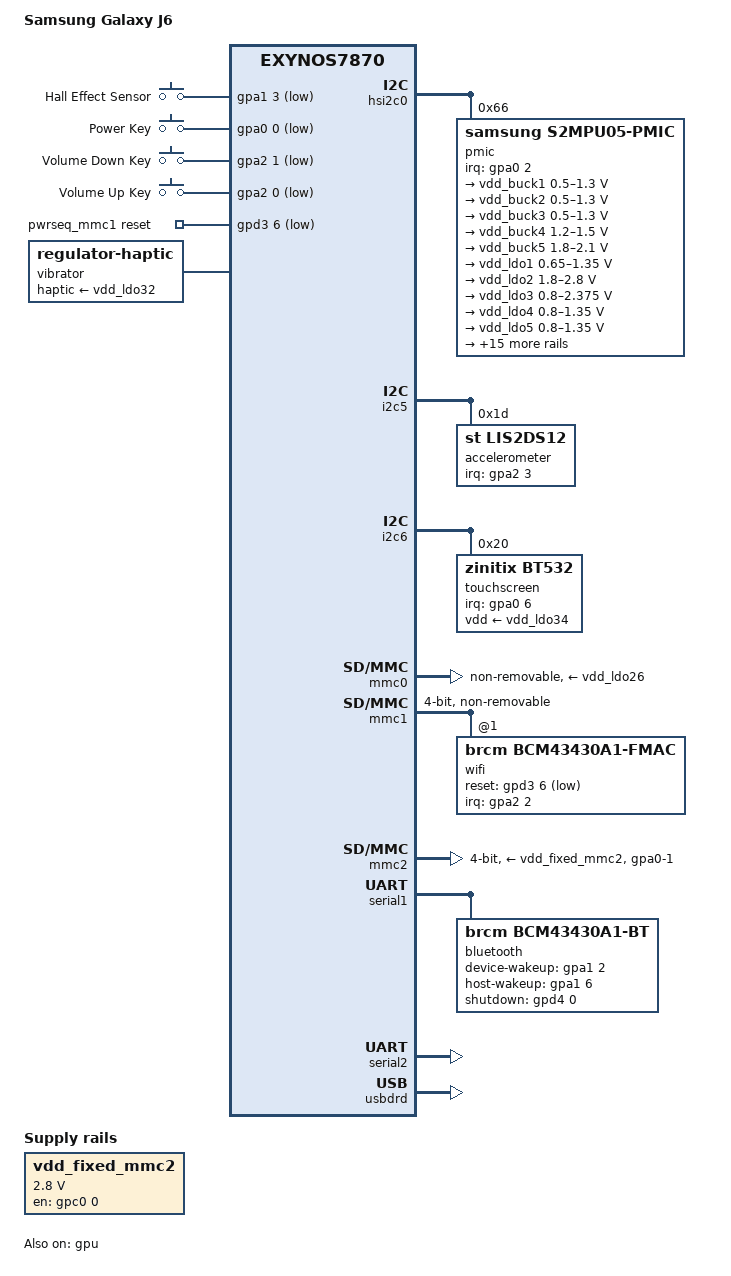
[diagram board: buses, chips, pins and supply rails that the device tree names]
// SPDX-License-Identifier: GPL-2.0
/*
 * Samsung Galaxy J6 (j6lte) device tree source
 *
 * Copyright (c) 2018 Samsung Electronics Co., Ltd.
 * Copyright (c) 2025 Kaustabh Chakraborty <kauschluss@disroot.org>
 */

/dts-v1/;
#include "exynos7870.dtsi"
#include <dt-bindings/gpio/gpio.h>
#include <dt-bindings/input/input.h>
#include <dt-bindings/interrupt-controller/irq.h>

/ {
	model = "Samsung Galaxy J6";
	compatible = "samsung,j6lte", "samsung,exynos7870";
	chassis-type = "handset";

	aliases {
		mmc0 = &mmc0;
		mmc1 = &mmc1;
		mmc2 = &mmc2;
		serial0 = &serial0;
		serial1 = &serial1;
		serial2 = &serial2;
	};

	chosen {
		#address-cells = <2>;
		#size-cells = <1>;
		ranges;

		stdout-path = &serial2;

		framebuffer@67000000 {
			compatible = "simple-framebuffer";
			reg = <0x0 0x67000000 (720 * 1480 * 4)>;
			width = <720>;
			height = <1480>;
			stride = <(720 * 4)>;
			format = "a8r8g8b8";
		};
	};

	gpio-hall-effect-sensor {
		compatible = "gpio-keys";
		label = "GPIO Hall Effect Sensor";

		pinctrl-names = "default";
		pinctrl-0 = <&hall_irq>;

		event-hall-effect-sensor {
			label = "Hall Effect Sensor";
			gpios = <&gpa1 3 GPIO_ACTIVE_LOW>;
			linux,input-type = <EV_SW>;
			linux,code = <SW_LID>;
			linux,can-disable;
			wakeup-source;
		};
	};

	gpio-keys {
		compatible = "gpio-keys";
		label = "GPIO Keys";

		pinctrl-names = "default";
		pinctrl-0 = <&key_power &key_voldown &key_volup>;

		key-power {
			label = "Power Key";
			gpios = <&gpa0 0 GPIO_ACTIVE_LOW>;
			linux,code = <KEY_POWER>;
		};

		key-voldown {
			label = "Volume Down Key";
			gpios = <&gpa2 1 GPIO_ACTIVE_LOW>;
			linux,code = <KEY_VOLUMEDOWN>;
		};

		key-volup {
			label = "Volume Up Key";
			gpios = <&gpa2 0 GPIO_ACTIVE_LOW>;
			linux,code = <KEY_VOLUMEUP>;
		};
	};

	memory@40000000 {
		device_type = "memory";
		reg = <0x0 0x40000000 0x3d800000>,
		      <0x0 0x80000000 0x40000000>;
	};

	pwrseq_mmc1: pwrseq-mmc1 {
		compatible = "mmc-pwrseq-simple";
		reset-gpios = <&gpd3 6 GPIO_ACTIVE_LOW>;
	};

	/* mmc2: vmmc */
	vdd_fixed_mmc2: regulator-fixed-mmc2 {
		compatible = "regulator-fixed";
		regulator-name = "vdd_fixed_mmc2";
		regulator-max-microvolt = <2800000>;
		regulator-min-microvolt = <2800000>;
		gpio = <&gpc0 0 GPIO_ACTIVE_HIGH>;
		enable-active-high;
	};

	reserved-memory {
		#address-cells = <2>;
		#size-cells = <1>;
		ranges;

		ramoops@46e00000 {
			compatible = "ramoops";
			reg = <0x0 0x46e00000 0x8000>;
			console-size = <0x4000>;
			pmsg-size = <0x4000>;
		};

		framebuffer@67000000 {
			reg = <0x0 0x67000000 (720 * 1480 * 4)>;
			no-map;
		};
	};

	vibrator {
		compatible = "regulator-haptic";
		haptic-supply = <&vdd_ldo32>;
		min-microvolt = <3300000>;
		max-microvolt = <3300000>;
	};
};

&gpu {
	status = "okay";
};

&hsi2c0 {
	#address-cells = <1>;
	#size-cells = <0>;

	status = "okay";

	pmic@66 {
		compatible = "samsung,s2mpu05-pmic";
		reg = <0x66>;
		interrupt-parent = <&gpa0>;
		interrupts = <2 IRQ_TYPE_LEVEL_LOW>;

		pinctrl-names = "default";
		pinctrl-0 = <&pmic_irq>;

		regulators {
			vdd_buck1: buck1 {
				regulator-name = "vdd_buck1";
				regulator-min-microvolt = <500000>;
				regulator-max-microvolt = <1300000>;
				regulator-ramp-delay = <12000>;
				regulator-boot-on;
				regulator-always-on;
			};

			vdd_buck2: buck2 {
				regulator-name = "vdd_buck2";
				regulator-min-microvolt = <500000>;
				regulator-max-microvolt = <1300000>;
				regulator-ramp-delay = <12000>;
				regulator-boot-on;
				regulator-always-on;
			};

			vdd_buck3: buck3 {
				regulator-name = "vdd_buck3";
				regulator-min-microvolt = <500000>;
				regulator-max-microvolt = <1300000>;
				regulator-ramp-delay = <12000>;
				regulator-boot-on;
				regulator-always-on;
			};

			vdd_buck4: buck4 {
				regulator-name = "vdd_buck4";
				regulator-min-microvolt = <1200000>;
				regulator-max-microvolt = <1500000>;
				regulator-ramp-delay = <12000>;
				regulator-boot-on;
				regulator-always-on;
			};

			vdd_buck5: buck5 {
				regulator-name = "vdd_buck5";
				regulator-min-microvolt = <1800000>;
				regulator-max-microvolt = <2100000>;
				regulator-ramp-delay = <12000>;
				regulator-boot-on;
				regulator-always-on;
			};

			vdd_ldo1: ldo1 {
				regulator-name = "vdd_ldo1";
				regulator-min-microvolt = <650000>;
				regulator-max-microvolt = <1350000>;
				regulator-ramp-delay = <12000>;
				regulator-boot-on;
				regulator-always-on;
			};

			/* mmc2: vqmmc */
			vdd_ldo2: ldo2 {
				regulator-name = "vdd_ldo2";
				regulator-min-microvolt = <1800000>;
				regulator-max-microvolt = <2800000>;
				regulator-ramp-delay = <12000>;
			};

			vdd_ldo3: ldo3 {
				regulator-name = "vdd_ldo3";
				regulator-min-microvolt = <800000>;
				regulator-max-microvolt = <2375000>;
				regulator-ramp-delay = <12000>;
				regulator-boot-on;
				regulator-always-on;
			};

			vdd_ldo4: ldo4 {
				regulator-name = "vdd_ldo4";
				regulator-min-microvolt = <800000>;
				regulator-max-microvolt = <1350000>;
				regulator-ramp-delay = <12000>;
				regulator-boot-on;
				regulator-always-on;
			};

			vdd_ldo5: ldo5 {
				regulator-name = "vdd_ldo5";
				regulator-min-microvolt = <800000>;
				regulator-max-microvolt = <1350000>;
				regulator-ramp-delay = <12000>;
				regulator-boot-on;
				regulator-always-on;
			};

			vdd_ldo6: ldo6 {
				regulator-name = "vdd_ldo6";
				regulator-min-microvolt = <800000>;
				regulator-max-microvolt = <1350000>;
				regulator-ramp-delay = <12000>;
				regulator-boot-on;
				regulator-always-on;
			};

			vdd_ldo7: ldo7 {
				regulator-name = "vdd_ldo7";
				regulator-min-microvolt = <800000>;
				regulator-max-microvolt = <2375000>;
				regulator-ramp-delay = <12000>;
				regulator-boot-on;
				regulator-always-on;
			};

			/* usbdrd: vdd33 */
			vdd_ldo8: ldo8 {
				regulator-name = "vdd_ldo8";
				regulator-min-microvolt = <1800000>;
				regulator-max-microvolt = <3375000>;
				regulator-ramp-delay = <12000>;
			};

			vdd_ldo9: ldo9 {
				regulator-name = "vdd_ldo9";
				regulator-min-microvolt = <650000>;
				regulator-max-microvolt = <1350000>;
				regulator-ramp-delay = <12000>;
				regulator-boot-on;
				regulator-always-on;
			};

			vdd_ldo10: ldo10 {
				regulator-name = "vdd_ldo10";
				regulator-min-microvolt = <650000>;
				regulator-max-microvolt = <1350000>;
				regulator-ramp-delay = <12000>;
				regulator-boot-on;
				regulator-always-on;
			};

			vdd_ldo25: ldo25 {
				regulator-name = "vdd_ldo25";
				regulator-min-microvolt = <800000>;
				regulator-max-microvolt = <2375000>;
				regulator-ramp-delay = <12000>;
				regulator-boot-on;
				regulator-always-on;
			};

			/* mmc0: vmmc */
			vdd_ldo26: ldo26 {
				regulator-name = "vdd_ldo26";
				regulator-min-microvolt = <1800000>;
				regulator-max-microvolt = <3375000>;
				regulator-ramp-delay = <12000>;
			};

			/* mmc0: vqmmc */
			vdd_ldo27: ldo27 {
				regulator-name = "vdd_ldo27";
				regulator-min-microvolt = <800000>;
				regulator-max-microvolt = <2375000>;
				regulator-ramp-delay = <12000>;
			};

			vdd_ldo29: ldo29 {
				regulator-name = "vdd_ldo29";
				regulator-min-microvolt = <3000000>;
				regulator-max-microvolt = <3000000>;
				regulator-boot-on;
				regulator-always-on;
			};

			vdd_ldo30: ldo30 {
				regulator-name = "vdd_ldo30";
				regulator-min-microvolt = <1800000>;
				regulator-max-microvolt = <1800000>;
				regulator-boot-on;
				regulator-always-on;
			};

			vdd_ldo31: ldo31 {
				regulator-name = "vdd_ldo31";
				regulator-min-microvolt = <2800000>;
				regulator-max-microvolt = <2800000>;
				regulator-ramp-delay = <12000>;
				regulator-boot-on;
				regulator-always-on;
			};

			/* vibrator: haptic */
			vdd_ldo32: ldo32 {
				regulator-name = "vdd_ldo32";
				regulator-min-microvolt = <3300000>;
				regulator-max-microvolt = <3300000>;
				regulator-ramp-delay = <12000>;
			};

			vdd_ldo33: ldo33 {
				regulator-name = "vdd_ldo33";
				regulator-min-microvolt = <3300000>;
				regulator-max-microvolt = <3300000>;
				regulator-ramp-delay = <12000>;
				regulator-boot-on;
				regulator-always-on;
			};

			/* touchscreen: vdd */
			vdd_ldo34: ldo34 {
				regulator-name = "vdd_ldo34";
				regulator-min-microvolt = <3300000>;
				regulator-max-microvolt = <3300000>;
			};

			vdd_ldo35: ldo35 {
				regulator-name = "vdd_ldo35";
				regulator-min-microvolt = <2800000>;
				regulator-max-microvolt = <2800000>;
				regulator-ramp-delay = <12000>;
				regulator-boot-on;
				regulator-always-on;
			};
		};
	};
};

&i2c5 {
	#address-cells = <1>;
	#size-cells = <0>;

	samsung,i2c-sda-delay = <100>;
	samsung,i2c-max-bus-freq = <400000>;

	status = "okay";

	accelerometer@1d {
		compatible = "st,lis2ds12";
		reg = <0x1d>;
		interrupt-parent = <&gpa2>;
		interrupts = <3 IRQ_TYPE_EDGE_RISING>;

		pinctrl-names = "default";
		pinctrl-0 = <&accel_irq>;

		mount-matrix = "-1", "0",  "0",
				"0", "1",  "0",
				"0", "0", "-1";

		st,drdy-int-pin = <1>;
	};
};

&i2c6 {
	#address-cells = <1>;
	#size-cells = <0>;

	samsung,i2c-sda-delay = <100>;
	samsung,i2c-max-bus-freq = <400000>;

	status = "okay";

	touchscreen@20 {
		compatible = "zinitix,bt532";
		reg = <0x20>;
		interrupt-parent = <&gpa0>;
		interrupts = <6 IRQ_TYPE_LEVEL_LOW>;

		pinctrl-names = "default";
		pinctrl-0 = <&touch_irq>;

		touchscreen-size-x = <720>;
		touchscreen-size-y = <1480>;

		vdd-supply = <&vdd_ldo34>;
	};
};

&mmc0 {
	pinctrl-names = "default";
	pinctrl-0 = <&sd0_clk &sd0_cmd &sd0_rdqs &sd0_bus1 &sd0_bus4 &sd0_bus8>;

	vmmc-supply = <&vdd_ldo26>;
	vqmmc-supply = <&vdd_ldo27>;

	fifo-depth = <64>;
	samsung,dw-mshc-ciu-div = <3>;
	samsung,dw-mshc-sdr-timing = <0 4>;
	samsung,dw-mshc-ddr-timing = <2 4>;
	non-removable;

	status = "okay";
};

&mmc1 {
	#address-cells = <1>;
	#size-cells = <0>;

	pinctrl-names = "default";
	pinctrl-0 = <&sd1_clk &sd1_cmd &sd1_bus1 &sd1_bus4>;

	mmc-pwrseq = <&pwrseq_mmc1>;

	bus-width = <4>;
	fifo-depth = <64>;
	samsung,dw-mshc-ciu-div = <3>;
	samsung,dw-mshc-sdr-timing = <0 3>;
	samsung,dw-mshc-ddr-timing = <1 2>;
	non-removable;
	cap-sd-highspeed;
	cap-sdio-irq;

	status = "okay";

	wifi@1 {
		compatible = "brcm,bcm43430a1-fmac", "brcm,bcm4329-fmac";
		reg = <0x1>;
		interrupt-names = "host-wake";
		interrupt-parent = <&gpa2>;
		interrupts = <2 IRQ_TYPE_LEVEL_LOW>;

		reset-gpios = <&gpd3 6 GPIO_ACTIVE_LOW>;
	};
};

&mmc2 {
	pinctrl-names = "default";
	pinctrl-0 = <&sd2_clk &sd2_cmd &sd2_bus1 &sd2_bus4 &dwmmc2_irq>;

	vmmc-supply = <&vdd_fixed_mmc2>;
	vqmmc-supply = <&vdd_ldo2>;

	bus-width = <4>;
	card-detect-delay = <200>;
	fifo-depth = <64>;
	samsung,dw-mshc-ciu-div = <3>;
	samsung,dw-mshc-sdr-timing = <0 3>;
	samsung,dw-mshc-ddr-timing = <1 2>;
	sd-uhs-sdr50;
	sd-uhs-sdr104;
	broken-cd;
	disable-wp;

	status = "okay";
};

&oscclk {
	clock-frequency = <26000000>;
};

&pinctrl_alive {
	accel_irq: accel-irq-pins {
		samsung,pins = "gpa2-3";
		samsung,pin-function = <EXYNOS_PIN_FUNC_EINT>;
		samsung,pin-pud = <EXYNOS_PIN_PULL_NONE>;
		samsung,pin-drv = <EXYNOS5433_PIN_DRV_FAST_SR1>;
	};

	dwmmc2_irq: dwmmc2-irq-pins {
		samsung,pins = "gpa0-1";
		samsung,pin-function = <EXYNOS_PIN_FUNC_EINT>;
		samsung,pin-pud = <EXYNOS_PIN_PULL_NONE>;
		samsung,pin-drv = <EXYNOS5433_PIN_DRV_FAST_SR1>;
	};

	fuel_irq: fuel-irq-pins {
		samsung,pins = "gpa0-3";
		samsung,pin-function = <EXYNOS_PIN_FUNC_INPUT>;
		samsung,pin-pud = <EXYNOS_PIN_PULL_NONE>;
		samsung,pin-drv = <EXYNOS5433_PIN_DRV_FAST_SR1>;
	};

	hall_irq: hall-irq-pins {
		samsung,pins = "gpa1-3";
		samsung,pin-function = <EXYNOS_PIN_FUNC_EINT>;
		samsung,pin-pud = <EXYNOS_PIN_PULL_NONE>;
		samsung,pin-drv = <EXYNOS5433_PIN_DRV_FAST_SR1>;
	};

	key_power: key-power-pins {
		samsung,pins = "gpa0-0";
		samsung,pin-function = <EXYNOS_PIN_FUNC_EINT>;
		samsung,pin-pud = <EXYNOS_PIN_PULL_NONE>;
		samsung,pin-drv = <EXYNOS5433_PIN_DRV_FAST_SR1>;
	};

	key_voldown: key-voldown-pins {
		samsung,pins = "gpa2-1";
		samsung,pin-function = <EXYNOS_PIN_FUNC_EINT>;
		samsung,pin-pud = <EXYNOS_PIN_PULL_NONE>;
		samsung,pin-drv = <EXYNOS5433_PIN_DRV_FAST_SR1>;
	};

	key_volup: key-volup-pins {
		samsung,pins = "gpa2-0";
		samsung,pin-function = <EXYNOS_PIN_FUNC_EINT>;
		samsung,pin-pud = <EXYNOS_PIN_PULL_NONE>;
		samsung,pin-drv = <EXYNOS5433_PIN_DRV_FAST_SR1>;
	};

	pmic_irq: pmic-irq-pins {
		samsung,pins = "gpa0-2";
		samsung,pin-pud = <EXYNOS_PIN_PULL_UP>;
		samsung,pin-drv = <EXYNOS5433_PIN_DRV_FAST_SR4>;
	};

	touch_irq: touch-irq-pins {
		samsung,pins = "gpa0-6";
		samsung,pin-function = <EXYNOS_PIN_FUNC_EINT>;
		samsung,pin-pud = <EXYNOS_PIN_PULL_NONE>;
		samsung,pin-drv = <EXYNOS5433_PIN_DRV_FAST_SR1>;
	};

	wlan_hostwake: wlan-hostwake-pins {
		samsung,pins = "gpa2-2";
		samsung,pin-function = <EXYNOS_PIN_FUNC_OUTPUT>;
		samsung,pin-pud = <EXYNOS_PIN_PULL_UP>;
	};
};

&pinctrl_top {
	bt_enable: bt-enable-pins {
		samsung,pins = "gpd4-0";
		samsung,pin-function = <EXYNOS_PIN_FUNC_OUTPUT>;
		samsung,pin-con-pdn = <EXYNOS_PIN_PDN_PREV>;
		samsung,pin-pud-pdn = <EXYNOS_PIN_PULL_NONE>;
		samsung,pin-pud = <EXYNOS_PIN_PULL_DOWN>;
	};

	wlan_enable: wlan-enable-pins {
		samsung,pins = "gpd3-6";
		samsung,pin-function = <EXYNOS_PIN_FUNC_OUTPUT>;
		samsung,pin-con-pdn = <EXYNOS_PIN_PDN_PREV>;
		samsung,pin-pud-pdn = <EXYNOS_PIN_PULL_NONE>;
		samsung,pin-pud = <EXYNOS_PIN_PULL_NONE>;
		samsung,pin-drv = <EXYNOS5433_PIN_DRV_FAST_SR4>;
		samsung,pin-val = <0>;
	};
};

&serial1 {
	status = "okay";

	bluetooth {
		compatible = "brcm,bcm43430a1-bt";

		pinctrl-names = "default";
		pinctrl-0 = <&bt_btwake &bt_hostwake &bt_enable>;

		device-wakeup-gpios = <&gpa1 2 GPIO_ACTIVE_HIGH>;
		host-wakeup-gpios = <&gpa1 6 GPIO_ACTIVE_HIGH>;
		shutdown-gpios = <&gpd4 0 GPIO_ACTIVE_HIGH>;

		max-speed = <3000000>;
	};
};

&serial2 {
	status = "okay";
};

&usbdrd {
	vdd33-supply = <&vdd_ldo8>;

	status = "okay";
};
